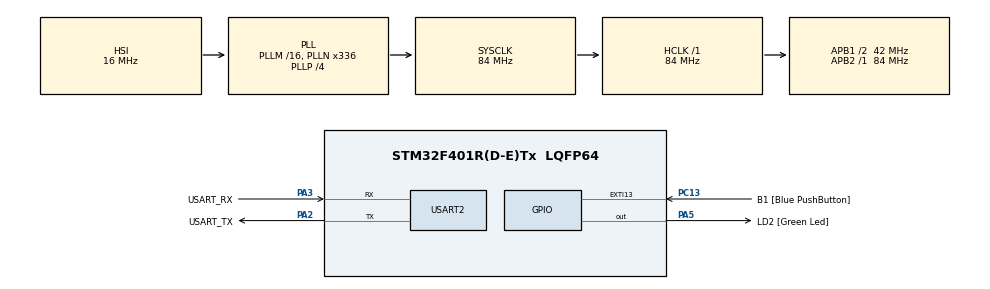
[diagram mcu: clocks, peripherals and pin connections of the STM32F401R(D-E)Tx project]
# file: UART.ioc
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Mcu.Family=STM32F4
Mcu.Name=STM32F401R(D-E)Tx
Mcu.Package=LQFP64
NVIC.PriorityGroup=NVIC_PRIORITYGROUP_0
NVIC.USART2_IRQn=true\:0\:0\:false\:false\:true\:true\:true\:true
PA13.GPIO_Label=TMS
PA13.Mode=Serial_Wire
PA13.Signal=SYS_JTMS-SWDIO
PA14.GPIO_Label=TCK
PA14.Mode=Serial_Wire
PA14.Signal=SYS_JTCK-SWCLK
PA2.GPIO_Label=USART_TX
PA2.GPIO_Mode=GPIO_MODE_AF_PP
PA2.GPIO_PuPd=GPIO_NOPULL
PA2.GPIO_Speed=GPIO_SPEED_FREQ_LOW
PA2.Mode=Asynchronous
PA2.Signal=USART2_TX
PA3.GPIO_Label=USART_RX
PA3.GPIO_Mode=GPIO_MODE_AF_PP
PA3.GPIO_PuPd=GPIO_NOPULL
PA3.GPIO_Speed=GPIO_SPEED_FREQ_LOW
PA3.Mode=Asynchronous
PA3.Signal=USART2_RX
PA5.GPIO_Label=LD2 [Green Led]
PA5.GPIO_Mode=GPIO_MODE_OUTPUT_PP
PA5.GPIO_PuPd=GPIO_NOPULL
PA5.GPIO_Speed=GPIO_SPEED_FREQ_LOW
PA5.Signal=GPIO_Output
PB3.GPIO_Label=SWO
PB3.Signal=SYS_JTDO-SWO
PC13-ANTI_TAMP.GPIO_Label=B1 [Blue PushButton]
PC13-ANTI_TAMP.GPIO_ModeDefaultEXTI=GPIO_MODE_IT_FALLING
PC13-ANTI_TAMP.GPIO_PuPd=GPIO_NOPULL
PC13-ANTI_TAMP.Signal=GPXTI13
PC14-OSC32_IN.Mode=LSE-External-Oscillator
PC14-OSC32_IN.Signal=RCC_OSC32_IN
PC15-OSC32_OUT.Mode=LSE-External-Oscillator
PC15-OSC32_OUT.Signal=RCC_OSC32_OUT
PH0\ -\ OSC_IN.Mode=HSE-External-Clock-Source
PH0\ -\ OSC_IN.Signal=RCC_OSC_IN
PH1\ -\ OSC_OUT.Mode=HSE-External-Clock-Source
PH1\ -\ OSC_OUT.Signal=RCC_OSC_OUT
ProjectManager.HeapSize=0x200
ProjectManager.StackSize=0x400
ProjectManager.TargetToolchain=STM32CubeIDE
RCC.48MHZClocksFreq_Value=48000000
RCC.AHBFreq_Value=84000000
RCC.APB1CLKDivider=RCC_HCLK_DIV2
RCC.APB1Freq_Value=42000000
RCC.APB1TimFreq_Value=84000000
RCC.APB2Freq_Value=84000000
RCC.APB2TimFreq_Value=84000000
RCC.CortexFreq_Value=84000000
RCC.HCLKFreq_Value=84000000
RCC.HSE_VALUE=8000000
RCC.HSI_VALUE=16000000
RCC.PLLN=336
RCC.PLLP=RCC_PLLP_DIV4
RCC.PLLQ=7
RCC.SYSCLKFreq_VALUE=84000000
RCC.SYSCLKSource=RCC_SYSCLKSOURCE_PLLCLK
RCC.VCOOutputFreq_Value=336000000
USART2.VirtualMode=VM_ASYNC
board=NUCLEO-F401RE

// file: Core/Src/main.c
/* USER CODE BEGIN Header */
/**
  ******************************************************************************
  * @file           : main.c
  * @brief          : Main program body
  ******************************************************************************
  * @attention
  *
  * Copyright (c) 2023 STMicroelectronics.
  * All rights reserved.
  *
  * This software is licensed under terms that can be found in the LICENSE file
  * in the root directory of this software component.
  * If no LICENSE file comes with this software, it is provided AS-IS.
  *
  ******************************************************************************
  */
/* USER CODE END Header */
#include "main.h"

UART_HandleTypeDef huart2;

/* USER CODE BEGIN PV */
uint8_t rx_indx;
uint8_t rx_buffer[100];
uint8_t rx_data[2];
uint8_t transfer_cplt;
/* USER CODE END PV */

void SystemClock_Config(void);
static void MX_GPIO_Init(void);
static void MX_USART2_UART_Init(void);

int main(void)
{

  /* MCU Configuration--------------------------------------------------------*/

  /* Reset of all peripherals, Initializes the Flash interface and the Systick. */
  HAL_Init();

  /* Configure the system clock */
  SystemClock_Config();

  /* Initialize all configured peripherals */
  MX_GPIO_Init();
  MX_USART2_UART_Init();
  /* USER CODE BEGIN 2 */
  HAL_UART_Receive_IT(&huart2, rx_data, 1);
  /* USER CODE END 2 */

  /* Infinite loop */
  while (1)
  {

    /* USER CODE BEGIN 3 */
	  //HAL_UART_Transmit(&huart2, tx_buffer, 20, 10);
	  //HAL_Delay(100);
  }
  /* USER CODE END 3 */
}

void SystemClock_Config(void)
{
  RCC_OscInitTypeDef RCC_OscInitStruct = {0};
  RCC_ClkInitTypeDef RCC_ClkInitStruct = {0};

  /** Configure the main internal regulator output voltage
  */
  __HAL_RCC_PWR_CLK_ENABLE();
  __HAL_PWR_VOLTAGESCALING_CONFIG(PWR_REGULATOR_VOLTAGE_SCALE2);

  /** Initializes the RCC Oscillators according to the specified parameters
  * in the RCC_OscInitTypeDef structure.
  */
  RCC_OscInitStruct.OscillatorType = RCC_OSCILLATORTYPE_HSI;
  RCC_OscInitStruct.HSIState = RCC_HSI_ON;
  RCC_OscInitStruct.HSICalibrationValue = RCC_HSICALIBRATION_DEFAULT;
  RCC_OscInitStruct.PLL.PLLState = RCC_PLL_ON;
  RCC_OscInitStruct.PLL.PLLSource = RCC_PLLSOURCE_HSI;
  RCC_OscInitStruct.PLL.PLLM = 16;
  RCC_OscInitStruct.PLL.PLLN = 336;
  RCC_OscInitStruct.PLL.PLLP = RCC_PLLP_DIV4;
  RCC_OscInitStruct.PLL.PLLQ = 7;
  if (HAL_RCC_OscConfig(&RCC_OscInitStruct) != HAL_OK)
  {
    Error_Handler();
  }

  /** Initializes the CPU, AHB and APB buses clocks
  */
  RCC_ClkInitStruct.ClockType = RCC_CLOCKTYPE_HCLK|RCC_CLOCKTYPE_SYSCLK
                              |RCC_CLOCKTYPE_PCLK1|RCC_CLOCKTYPE_PCLK2;
  RCC_ClkInitStruct.SYSCLKSource = RCC_SYSCLKSOURCE_PLLCLK;
  RCC_ClkInitStruct.AHBCLKDivider = RCC_SYSCLK_DIV1;
  RCC_ClkInitStruct.APB1CLKDivider = RCC_HCLK_DIV2;
  RCC_ClkInitStruct.APB2CLKDivider = RCC_HCLK_DIV1;

  if (HAL_RCC_ClockConfig(&RCC_ClkInitStruct, FLASH_LATENCY_2) != HAL_OK)
  {
    Error_Handler();
  }
}

static void MX_USART2_UART_Init(void)
{

  huart2.Instance = USART2;
  huart2.Init.BaudRate = 115200;
  huart2.Init.WordLength = UART_WORDLENGTH_8B;
  huart2.Init.StopBits = UART_STOPBITS_1;
  huart2.Init.Parity = UART_PARITY_NONE;
  huart2.Init.Mode = UART_MODE_TX_RX;
  huart2.Init.HwFlowCtl = UART_HWCONTROL_NONE;
  huart2.Init.OverSampling = UART_OVERSAMPLING_16;
  if (HAL_UART_Init(&huart2) != HAL_OK)
  {
    Error_Handler();
  }

}

static void MX_GPIO_Init(void)
{
  GPIO_InitTypeDef GPIO_InitStruct = {0};

  /* GPIO Ports Clock Enable */
  __HAL_RCC_GPIOC_CLK_ENABLE();
  __HAL_RCC_GPIOH_CLK_ENABLE();
  __HAL_RCC_GPIOA_CLK_ENABLE();
  __HAL_RCC_GPIOB_CLK_ENABLE();

  /*Configure GPIO pin Output Level */
  HAL_GPIO_WritePin(LD2_GPIO_Port, LD2_Pin, GPIO_PIN_RESET);

  /*Configure GPIO pin : B1_Pin */
  GPIO_InitStruct.Pin = B1_Pin;
  GPIO_InitStruct.Mode = GPIO_MODE_IT_FALLING;
  GPIO_InitStruct.Pull = GPIO_NOPULL;
  HAL_GPIO_Init(B1_GPIO_Port, &GPIO_InitStruct);

  /*Configure GPIO pin : LD2_Pin */
  GPIO_InitStruct.Pin = LD2_Pin;
  GPIO_InitStruct.Mode = GPIO_MODE_OUTPUT_PP;
  GPIO_InitStruct.Pull = GPIO_NOPULL;
  GPIO_InitStruct.Speed = GPIO_SPEED_FREQ_LOW;
  HAL_GPIO_Init(LD2_GPIO_Port, &GPIO_InitStruct);

}

/* USER CODE BEGIN 4 */
void HAL_UART_RxCpltCallback(UART_HandleTypeDef *huart)
{
  /* Prevent unused argument(s) compilation warning */
  UNUSED(huart);
  /* NOTE: This function should not be modified, when the callback is needed,
           the HAL_UART_RxCpltCallback could be implemented in the user file
   */
  uint8_t i;
  if (huart->Instance == USART2)
      {
          if (rx_data[0] != '\n')  // Checking for newline character
          {
              rx_buffer[rx_indx++] = rx_data[0];  // Store in buffer
          }
          else
          {
              rx_buffer[rx_indx] = '\0'; // Null-terminate the string
              rx_indx = 0;

              // Process command
              if (strcmp((char *)rx_buffer, "LED ON") == 0)
              {
                  HAL_GPIO_WritePin(LD2_GPIO_Port, LD2_Pin, GPIO_PIN_SET);
                  HAL_UART_Transmit(&huart2, (uint8_t *)"LED is now ON\n", 14, 100);
              }
              else if (strcmp((char *)rx_buffer, "LED OFF") == 0)
              {
                  HAL_GPIO_WritePin(LD2_GPIO_Port, LD2_Pin, GPIO_PIN_RESET);
                  HAL_UART_Transmit(&huart2, (uint8_t *)"LED is now OFF\n", 15, 100);
              }
              else
              {
                  HAL_UART_Transmit(&huart2, (uint8_t *)"Invalid command\n", 16, 100);
              }
          }

          // Prepare to receive next byte
          HAL_UART_Receive_IT(&huart2, rx_data, 1);
      }
}
/* USER CODE END 4 */

void Error_Handler(void)
{
  __disable_irq();
  while (1)
  {
  }
}
